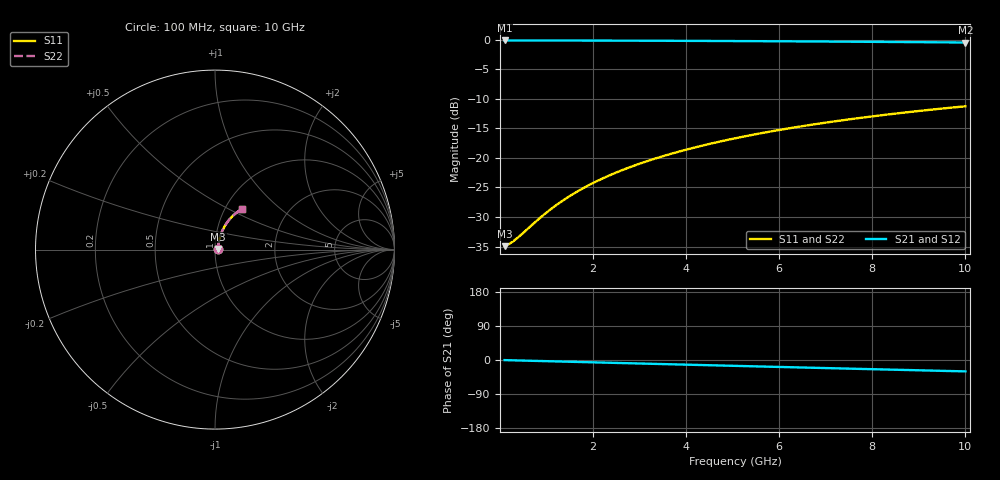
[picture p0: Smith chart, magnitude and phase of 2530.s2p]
# Hz S RI R 50.00
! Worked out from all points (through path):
!   100 points, 100 MHz to 10 GHz, reference 50 ohm
!   highest |S21| = -0.16 dB at 100 MHz (marker M1); lowest = -0.5 dB at 10 GHz (marker M2)
!   group delay of S21, straight-line fit = 8.36 ps
!   lowest |S11| = -34.9 dB at 100 MHz (marker M3), VSWR 1.04, Z = 51.8 + j0.294 ohm
!   |S11| at or under -10 dB: start of sweep to end of sweep
!   |S22| runs from -34.9 to -11.3 dB; largest |S21 - S12| = 0
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1e8  0.0177 0.00284  0.9823 -0.00529  0.9823 -0.00529  0.0177 0.00284
2e8  0.0179 0.00567  0.9821 -0.0106  0.9821 -0.0106  0.0179 0.00567
3e8  0.018 0.00851  0.9819 -0.0159  0.9819 -0.0159  0.018 0.00851
4e8  0.0182 0.0113  0.9817 -0.0211  0.9817 -0.0211  0.0182 0.0113
9e8  0.0194 0.0255  0.9803 -0.0475  0.9803 -0.0475  0.0194 0.0255
1.2e9  0.0205 0.0339  0.979 -0.0633  0.979 -0.0633  0.0205 0.0339
1.5e9  0.0218 0.0423  0.9775 -0.079  0.9775 -0.079  0.0218 0.0423
1.8e9  0.0234 0.0506  0.9756 -0.0947  0.9756 -0.0947  0.0234 0.0506
2.1e9  0.0252 0.0589  0.9734 -0.1104  0.9734 -0.1104  0.0252 0.0589
2.5e9  0.0281 0.0698  0.97 -0.1311  0.97 -0.1311  0.0281 0.0698
2.9e9  0.0314 0.0805  0.966 -0.1517  0.966 -0.1517  0.0314 0.0805
3.4e9  0.0362 0.0937  0.9603 -0.1771  0.9603 -0.1771  0.0362 0.0937
3.8e9  0.0405 0.1041  0.9551 -0.1973  0.9551 -0.1973  0.0405 0.1041
4.2e9  0.0452 0.1142  0.9494 -0.2172  0.9494 -0.2172  0.0452 0.1142
4.6e9  0.0503 0.1241  0.9431 -0.2369  0.9431 -0.2369  0.0503 0.1241
5.1e9  0.0573 0.1361  0.9347 -0.2612  0.9347 -0.2612  0.0573 0.1361
5.9e9  0.0697 0.1544  0.9196 -0.2992  0.9196 -0.2992  0.0697 0.1544
6.7e9  0.0834 0.1714  0.9027 -0.3359  0.9027 -0.3359  0.0834 0.1714
7.5e9  0.0985 0.1871  0.8841 -0.3713  0.8841 -0.3713  0.0985 0.1871
8.4e9  0.1167 0.2031  0.8615 -0.4094  0.8615 -0.4094  0.1167 0.2031
9.2e9  0.1338 0.2157  0.8399 -0.4418  0.8399 -0.4418  0.1338 0.2157
1e10  0.1518 0.2268  0.817 -0.4726  0.817 -0.4726  0.1518 0.2268
